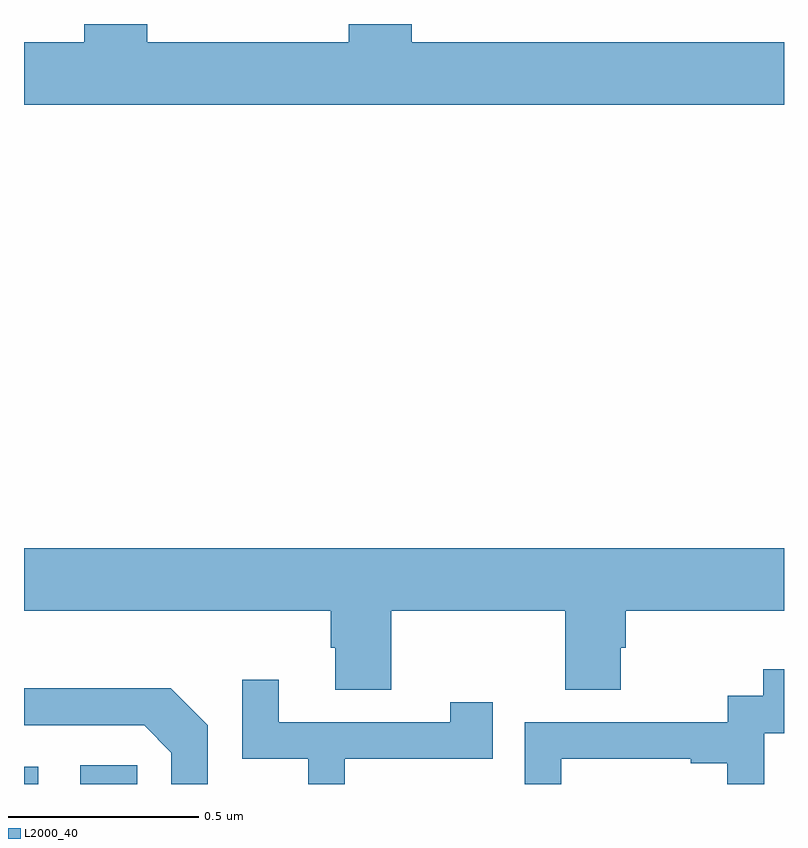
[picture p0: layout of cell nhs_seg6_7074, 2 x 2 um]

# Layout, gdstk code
import gdstk
lib = gdstk.Library(unit=1e-6, precision=1e-09)
def R(c, l, rs):  # rectangles x0, y0, x1, y1
    for r in rs: c.add(gdstk.rectangle(r[:2], r[2:], *l))
def P(c, l, *ps):  # polygons
    for p in ps: c.add(gdstk.Polygon(p, *l))
L2000_40 = (2000, 40)

nhs_seg6_7074 = lib.new_cell('nhs_seg6_7074')
R(nhs_seg6_7074, L2000_40, [(203,993.5,203.038,993.546), (203.148,993.5,203.298,993.55)])
P(nhs_seg6_7074, L2000_40, [(205,995.452),(204.02,995.452),(204.02,995.5),(203.855,995.5),(203.855,995.452),(203.324,995.452),(203.324,995.5),(203.159,995.5),(203.159,995.452),(203,995.452),(203,995.288),(205,995.288)],
  [(203.967,993.956),(204.424,993.956),(204.424,993.748),(204.571,993.748),(204.571,993.858),(204.584,993.858),(204.584,993.956),(205,993.956),(205,994.12),(203,994.12),(203,993.956),(203.807,993.956),(203.807,993.858),(203.819,993.858),(203.819,993.748),(203.967,993.748)],
  [(204.414,993.567),(204.755,993.567),(204.755,993.555),(204.851,993.555),(204.851,993.5),(204.948,993.5),(204.948,993.633),(205,993.633),(205,993.802),(204.945,993.802),(204.945,993.732),(204.852,993.732),(204.852,993.663),(204.318,993.663),(204.318,993.5),(204.414,993.5)],
  [(203.844,993.567),(204.233,993.567),(204.233,993.715),(204.122,993.715),(204.122,993.663),(203.671,993.663),(203.671,993.775),(203.574,993.775),(203.574,993.567),(203.748,993.567),(203.748,993.5),(203.844,993.5)],
  [(203.484,993.654),(203.386,993.752),(203,993.752),(203,993.654),(203.316,993.654),(203.388,993.582),(203.388,993.5),(203.484,993.5)])

lib.write_gds('nhs_seg6_7074.gds')
